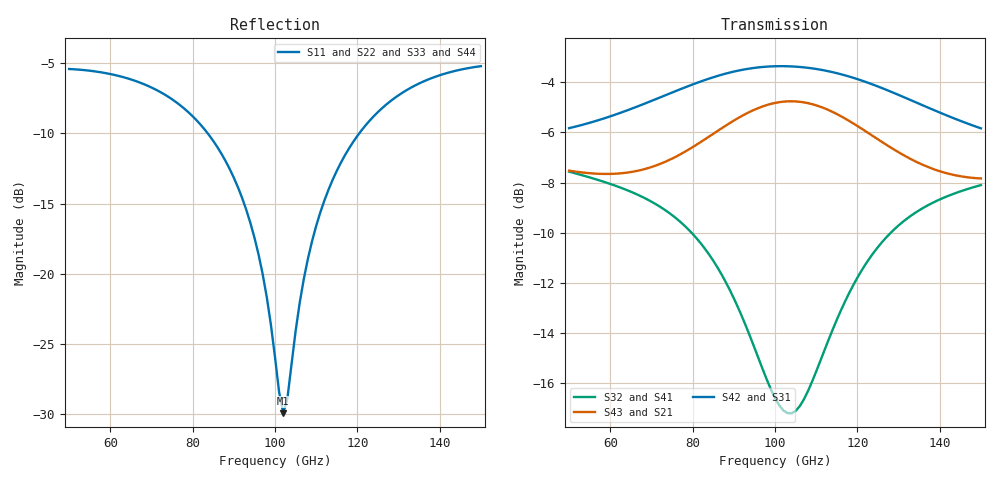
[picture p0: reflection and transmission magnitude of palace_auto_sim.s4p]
#  GHZ S DB R 50
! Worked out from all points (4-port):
!   101 points, 50 GHz to 150 GHz, reference 50 ohm
!   strongest paths, dB at 50 GHz, 75 GHz, 100 GHz, 125 GHz, 150 GHz:
!     S42: -5.8, -4.4, -3.4, -4.2, -5.8
!     S31: -5.8, -4.4, -3.4, -4.2, -5.8
!     S43: -7.5, -7.0, -4.8, -6.3, -7.8
!     S21: -7.5, -7.0, -4.8, -6.3, -7.8
!     S32: -7.6, -9.3, -16.6, -10.6, -8.1
!     S41: -7.6, -9.3, -16.6, -10.6, -8.1
!   lowest |S11| = -29.9 dB at 102 GHz (marker M1), VSWR 1.07, Z = 53.3 + j0.0487 ohm
!   |S11| at or under -10 dB: 83.68 GHz to 120.4 GHz (36.76 GHz wide, 36 % of centre)
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50  -5.41 158.7  -7.52 -47.6  -5.83 -80.2  -7.56 -62.6
    -7.52 -47.6  -5.40 158.8  -7.56 -62.6  -5.83 -80.2
    -5.83 -80.2  -7.56 -62.6  -5.40 158.8  -7.52 -47.6
    -7.56 -62.6  -5.83 -80.2  -7.52 -47.6  -5.40 158.7
86  -10.97 108.7  -5.95 -69.9  -3.75 -146.2  -11.37 -110.1
    -5.95 -69.9  -10.96 108.8  -11.38 -110.1  -3.75 -146.2
    -3.75 -146.2  -11.38 -110.1  -10.96 108.7  -5.95 -69.8
    -11.37 -110.1  -3.75 -146.2  -5.95 -69.8  -10.96 108.7
95  -17.41 85.9  -5.09 -82.1  -3.43 -166.4  -14.58 -114.6
    -5.09 -82.1  -17.39 86.0  -14.58 -114.5  -3.43 -166.4
    -3.43 -166.4  -14.58 -114.5  -17.39 85.8  -5.09 -82.0
    -14.58 -114.6  -3.43 -166.4  -5.09 -82.0  -17.38 85.8
102  -29.93 0.8  -4.77 -93.7  -3.36 177.5  -17.08 -100.1
     -4.77 -93.7  -29.95 1.4  -17.08 -100.0  -3.36 177.5
     -3.36 177.5  -17.08 -100.0  -29.88 1.2  -4.77 -93.7
     -17.08 -100.1  -3.36 177.5  -4.77 -93.7  -29.86 1.5
109  -17.67 -90.9  -4.87 -105.8  -3.45 161.5  -15.94 -78.0
     -4.87 -105.8  -17.69 -90.8  -15.94 -78.0  -3.45 161.5
     -3.45 161.5  -15.94 -78.0  -17.68 -90.7  -4.87 -105.7
     -15.94 -78.0  -3.45 161.5  -4.87 -105.7  -17.69 -90.7
117  -11.54 -111.6  -5.45 -118.2  -3.73 143.6  -12.75 -74.7
     -5.45 -118.2  -11.56 -111.6  -12.74 -74.6  -3.72 143.6
     -3.73 143.6  -12.74 -74.6  -11.55 -111.5  -5.44 -118.1
     -12.75 -74.7  -3.72 143.6  -5.44 -118.1  -11.56 -111.5
150  -5.20 -160.3  -7.84 -143.3  -5.84 80.6  -8.10 -117.4
     -7.84 -143.3  -5.21 -160.3  -8.10 -117.3  -5.84 80.6
     -5.84 80.6  -8.10 -117.3  -5.21 -160.3  -7.84 -143.2
     -8.10 -117.4  -5.84 80.6  -7.84 -143.2  -5.21 -160.3
